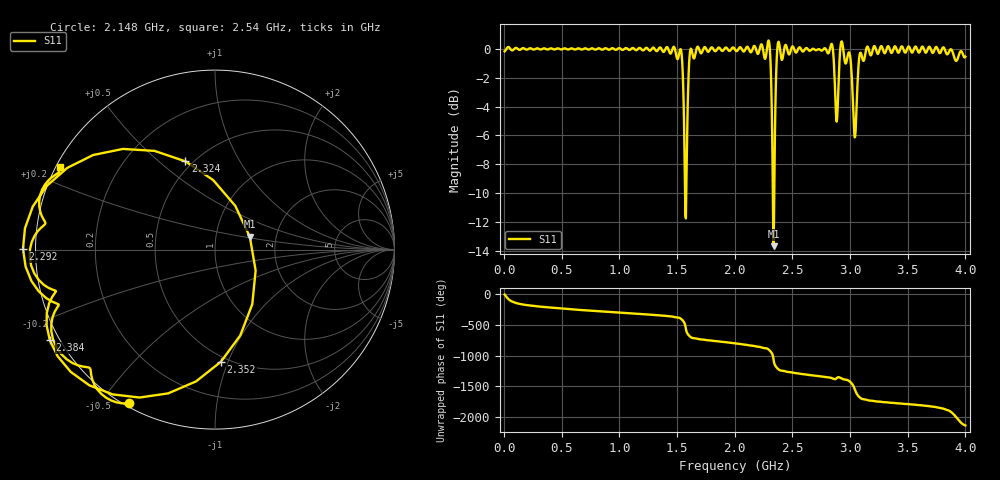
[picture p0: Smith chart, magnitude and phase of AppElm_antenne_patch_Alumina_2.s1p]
! TOUCHSTONE file generated by CST MICROWAVE STUDIO
! Date and time: Thu Jun  9 09:30:35 2022
! Project name: AppElm_antenne_patch_Alumina.cst
! Parameters = {L=30.5; W=41.8; e=0.035; h=1.6; lambda=0.190476; ls=90; w0=1.12; w1=0.29835; ws=90; y0=14; y1=10}
! Header version: 2018
! Port assignment regex: !\s*Touchstone port\s*([0-9]+)\s*=\s*(CST MWS port|CST DS port)\s*([0-9]+|Zmin|Zmax)\s*\(\"(.*)\"\)(\s*mode\s*([0-9]+))?.*
! Touchstone port assignment:
! Touchstone port 1 = CST MWS port 1 ("")
# GHz S MA R 50
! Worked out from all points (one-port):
!   1000 points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, 4 MHz to 4 GHz, reference 50 ohm
!   lowest |S11| = -13.7 dB at 2.336 GHz (marker M1), VSWR 1.52, Z = 73.1 + j10.9 ohm
!   |S11| at or under -10 dB: 1.569 GHz to 1.58 GHz (10.39 MHz wide, 0.66 % of centre); 2.33 GHz to 2.342 GHz (12.13 MHz wide, 0.519 % of centre)
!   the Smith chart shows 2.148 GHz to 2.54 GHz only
!   S11 on the Smith chart (normalised r, x): 2.148 GHz: 0.01, -0.59; 2.292 GHz: -0.03, +0.00; 2.324 GHz: 0.46, +0.62; 2.352 GHz: 0.46, -0.94; 2.384 GHz: -0.03, -0.26; 2.54 GHz: 0.01, +0.25
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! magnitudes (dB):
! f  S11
! 4 MHz  -0.2
! 504 MHz  0.0
! 1.004 GHz  0.0
! 1.504 GHz  -0.7
! 1.536 GHz  -0.2
! 1.564 GHz  -7.0
! 1.576 GHz  -11.8
! 1.608 GHz  -0.5
! 1.624 GHz  0.0
! 2.004 GHz  -0.1
! 2.148 GHz  -0.1
! 2.292 GHz  0.6
! 2.304 GHz  0.0
! 2.324 GHz  -5.7
! 2.336 GHz  -13.7
! 2.352 GHz  -4.1
! 2.368 GHz  -0.1
! 2.384 GHz  0.4
! 2.504 GHz  0.2
! 2.54 GHz  -0.2
! 2.836 GHz  0.3
! 2.884 GHz  -5.0
! 2.928 GHz  0.5
! 3.004 GHz  -0.7
! 3.04 GHz  -6.1
! 3.092 GHz  -0.3
! 3.504 GHz  0.2
! 4 GHz  -0.5
